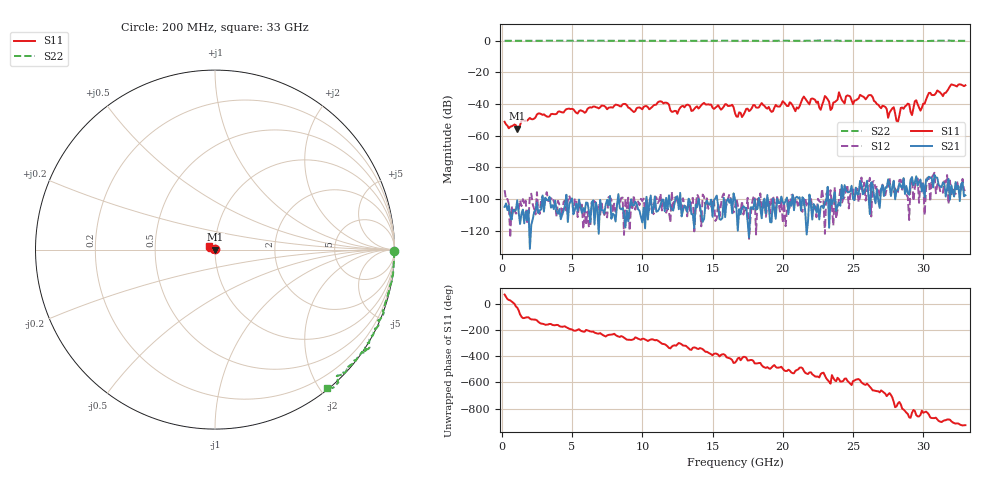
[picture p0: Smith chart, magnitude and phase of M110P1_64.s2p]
# GHZ S RI R 50
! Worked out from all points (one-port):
!   329 points, 200 MHz to 33 GHz, reference 50 ohm
!   lowest |S11| = -55.5 dB at 1.1 GHz (marker M1), VSWR 1.00, Z = 50.1 - j0.0877 ohm
!   |S11| at or under -10 dB: start of sweep to end of sweep
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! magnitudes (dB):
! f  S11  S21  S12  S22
! 200 MHz  -51.2  -105.0  -94.4  0.0
! 1.1 GHz  -55.5  -100.9  -108.9  0.0
! 5.7 GHz  -44.3  -108.8  -103.6  0.0
! 11.2 GHz  -38.5  -106.3  -101.1  -0.1
! 16.6 GHz  -45.7  -100.2  -105.0  0.0
! 20.9 GHz  -44.5  -99.4  -102.3  0.0
! 22.1 GHz  -36.5  -113.0  -105.8  0.0
! 22.7 GHz  -43.7  -104.9  -102.0  0.2
! 23 GHz  -35.0  -102.1  -122.0  0.0
! 23.4 GHz  -43.8  -100.3  -94.4  0.1
! 24 GHz  -32.6  -102.6  -99.9  0.0
! 25 GHz  -40.1  -100.0  -93.9  0.0
! 26.3 GHz  -34.5  -89.5  -111.1  0.0
! 27.6 GHz  -45.5  -90.6  -86.5  -0.1
! 27.9 GHz  -42.1  -88.5  -95.3  -0.1
! 28.2 GHz  -51.3  -94.3  -95.7  -0.1
! 28.9 GHz  -39.8  -96.5  -98.8  0.0
! 29.2 GHz  -47.0  -86.1  -86.6  -0.1
! 29.4 GHz  -38.2  -89.6  -93.1  -0.1
! 29.8 GHz  -44.2  -87.7  -90.1  -0.1
! 30.4 GHz  -33.0  -86.0  -86.9  -0.2
! 33 GHz  -28.2  -97.7  -94.3  -0.1
